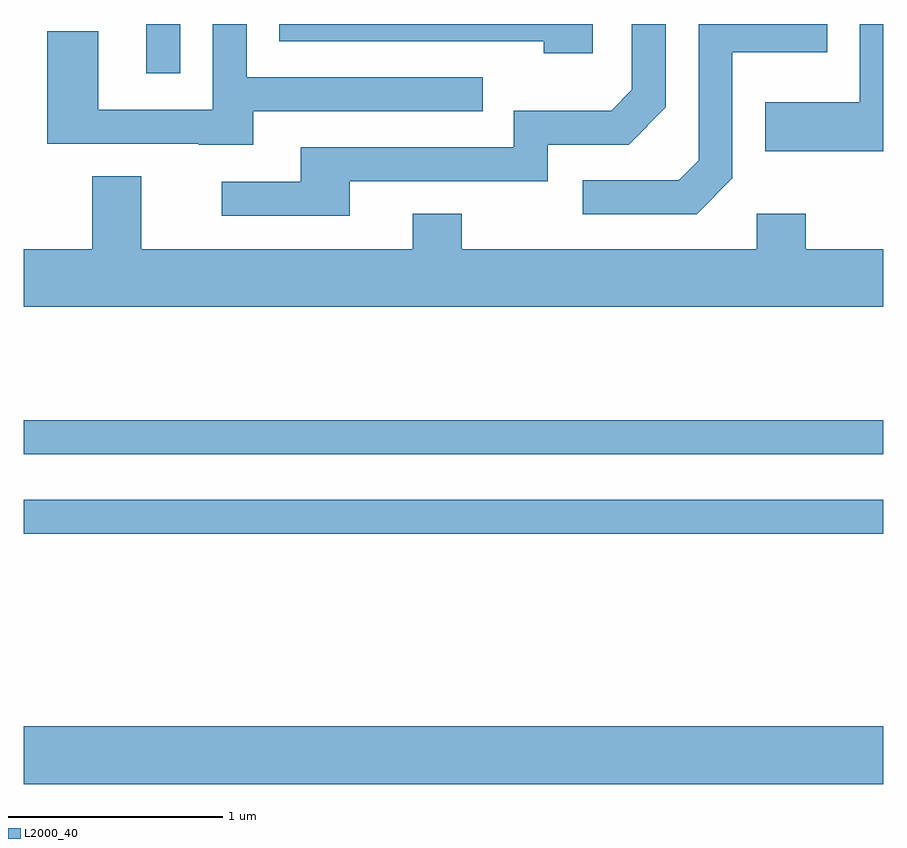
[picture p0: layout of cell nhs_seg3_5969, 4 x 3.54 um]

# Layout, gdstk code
import gdstk
lib = gdstk.Library(unit=1e-6, precision=1e-09)
def R(c, l, rs):  # rectangles x0, y0, x1, y1
    for r in rs: c.add(gdstk.rectangle(r[:2], r[2:], *l))
def P(c, l, *ps):  # polygons
    for p in ps: c.add(gdstk.Polygon(p, *l))
L2000_40 = (2000, 40)

nhs_seg3_5969 = lib.new_cell('nhs_seg3_5969')
R(nhs_seg3_5969, L2000_40, [(359.611,1230.356,363.611,1230.624), (359.611,1231.521,363.611,1231.679), (359.611,1231.891,363.611,1232.049), (360.181,1233.663,360.339,1233.892)])
P(nhs_seg3_5969, L2000_40, [(362.909,1233.174),(362.909,1233.761),(363.349,1233.761),(363.349,1233.892),(362.751,1233.892),(362.751,1233.257),(362.659,1233.164),(362.213,1233.164),(362.213,1233.006),(362.742,1233.006)],
  [(361.129,1233.161),(362.049,1233.161),(362.049,1233.331),(362.427,1233.331),(362.599,1233.504),(362.599,1233.892),(362.441,1233.892),(362.441,1233.587),(362.344,1233.489),(361.891,1233.489),(361.891,1233.319),(360.901,1233.319),(360.901,1233.159),(360.533,1233.159),(360.533,1233.001),(361.129,1233.001)],
  [(363.611,1233.892),(363.501,1233.892),(363.501,1233.529),(363.061,1233.529),(363.061,1233.301),(363.611,1233.301)],
  [(360.679,1233.486),(361.748,1233.486),(361.748,1233.644),(360.649,1233.644),(360.649,1233.892),(360.491,1233.892),(360.491,1233.494),(359.959,1233.494),(359.959,1233.859),(359.721,1233.859),(359.721,1233.336),(360.425,1233.336),(360.425,1233.331),(360.679,1233.331)],
  [(362.259,1233.892),(360.801,1233.892),(360.801,1233.811),(362.031,1233.811),(362.031,1233.756),(362.259,1233.756)],
  [(363.611,1232.844),(363.249,1232.844),(363.249,1233.009),(363.021,1233.009),(363.021,1232.844),(361.649,1232.844),(361.649,1233.009),(361.421,1233.009),(361.421,1232.844),(360.159,1232.844),(360.159,1233.184),(359.931,1233.184),(359.931,1232.844),(359.611,1232.844),(359.611,1232.576),(363.611,1232.576)])

lib.write_gds('nhs_seg3_5969.gds')
